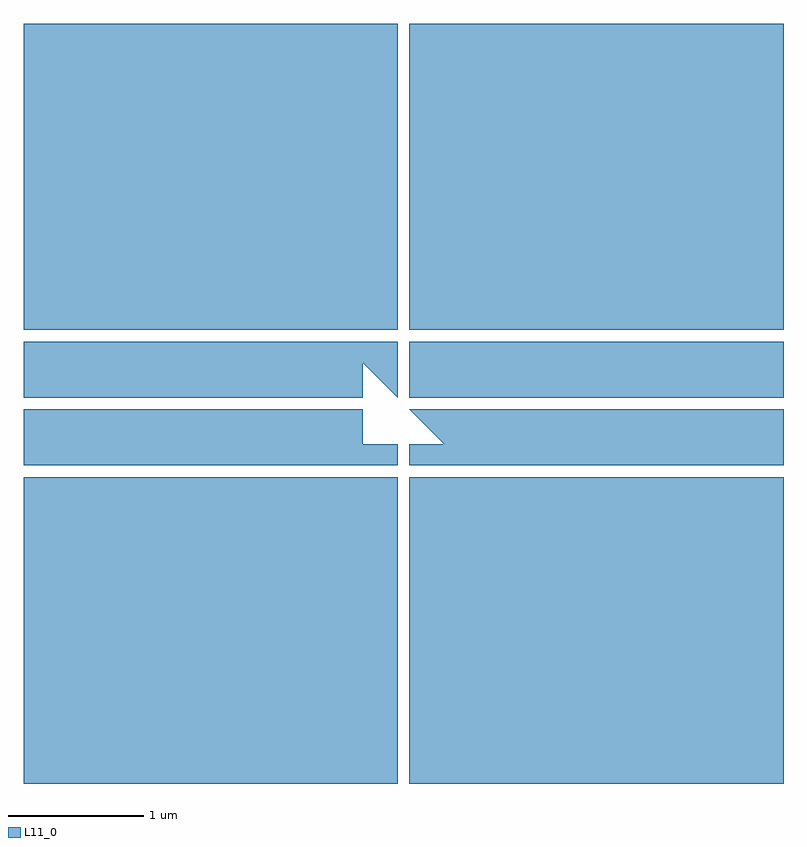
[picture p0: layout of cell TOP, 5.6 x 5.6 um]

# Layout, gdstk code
import gdstk
lib = gdstk.Library(unit=1e-6, precision=1e-09)
def R(c, l, rs):  # rectangles x0, y0, x1, y1
    for r in rs: c.add(gdstk.rectangle(r[:2], r[2:], *l))
def P(c, l, *ps):  # polygons
    for p in ps: c.add(gdstk.Polygon(p, *l))
L11_0 = (11, 0)

top = lib.new_cell('TOP')
R(top, L11_0, [(0.2,0.2,2.956,2.456), (3.044,0.2,5.8,2.456), (3.044,3.044,5.8,3.456), (0.2,3.544,2.956,5.8), (3.044,3.544,5.8,5.8)])
P(top, L11_0, [(0.2,2.544),(0.2,2.956),(2.7,2.956),(2.7,2.7),(2.956,2.7),(2.956,2.544)],
  [(3.044,2.544),(3.044,2.7),(3.3,2.7),(3.044,2.956),(5.8,2.956),(5.8,2.544)],
  [(0.2,3.044),(0.2,3.456),(2.956,3.456),(2.956,3.044),(2.7,3.3),(2.7,3.044)])

lib.write_gds('TOP.gds')
